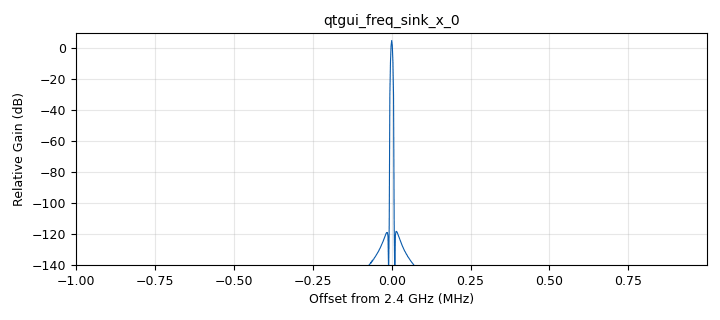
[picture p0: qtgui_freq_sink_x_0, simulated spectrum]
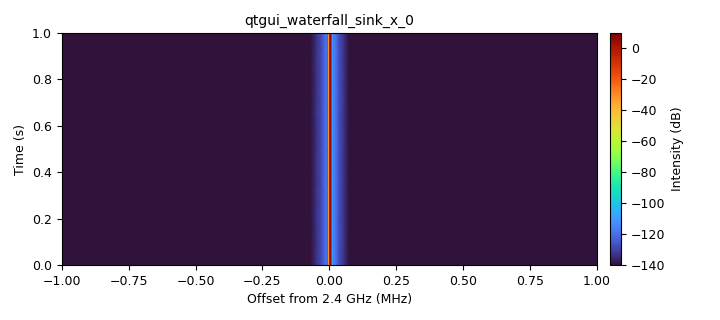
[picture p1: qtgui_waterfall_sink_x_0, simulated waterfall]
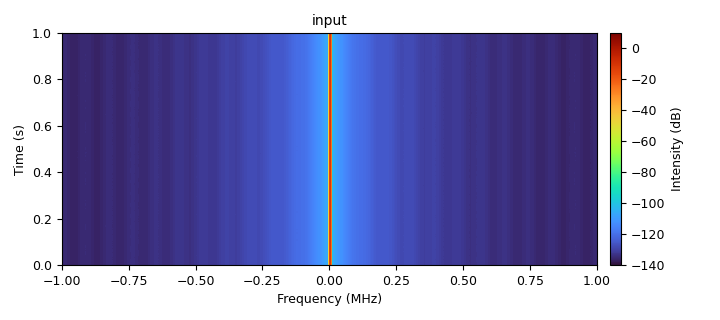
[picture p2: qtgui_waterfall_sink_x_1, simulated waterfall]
options:
  parameters:
    generate_options: qt_gui
    id: sweepjam
    output_language: python
    title: Not titled yet
  states: {}

blocks:
- name: samp_rate
  id: variable
  parameters:
    value: 2e6
  states: {}
- name: analog_sig_source_x_0
  id: analog_sig_source_x
  parameters:
    amp: '1'
    freq: '1000'
    offset: '0'
    phase: '0'
    samp_rate: samp_rate
    type: float
    waveform: analog.GR_SAW_WAVE
  states: {}
- name: blocks_file_sink_0
  id: blocks_file_sink
  parameters:
    file: /home/lakshya/new.iq
    type: complex
  states: {}
- name: blocks_multiply_const_vxx_0
  id: blocks_multiply_const_vxx
  parameters:
    const: '5'
    type: complex
  states: {}
- name: blocks_vco_c_0
  id: blocks_vco_c
  parameters:
    amplitude: '1'
    samp_rate: samp_rate
    sensitivity: '20'
  states: {}
- name: qtgui_freq_sink_x_0
  id: qtgui_freq_sink_x
  parameters:
    bw: samp_rate
    fc: 2.4e9
    fftsize: '1024'
    type: complex
  states: {}
- name: qtgui_waterfall_sink_x_0
  id: qtgui_waterfall_sink_x
  parameters:
    bw: samp_rate
    fc: 02.4e9
    fftsize: '1024'
    type: complex
  states: {}
- name: qtgui_waterfall_sink_x_1
  id: qtgui_waterfall_sink_x
  parameters:
    bw: samp_rate
    fc: '0'
    fftsize: '1024'
    name: '"input"'
    type: float
  states: {}

connections:
- [analog_sig_source_x_0, '0', blocks_vco_c_0, '0']
- [analog_sig_source_x_0, '0', qtgui_waterfall_sink_x_1, '0']
- [blocks_multiply_const_vxx_0, '0', blocks_file_sink_0, '0']
- [blocks_multiply_const_vxx_0, '0', qtgui_freq_sink_x_0, '0']
- [blocks_multiply_const_vxx_0, '0', qtgui_waterfall_sink_x_0, '0']
- [blocks_vco_c_0, '0', blocks_multiply_const_vxx_0, '0']

metadata:
  file_format: 1
